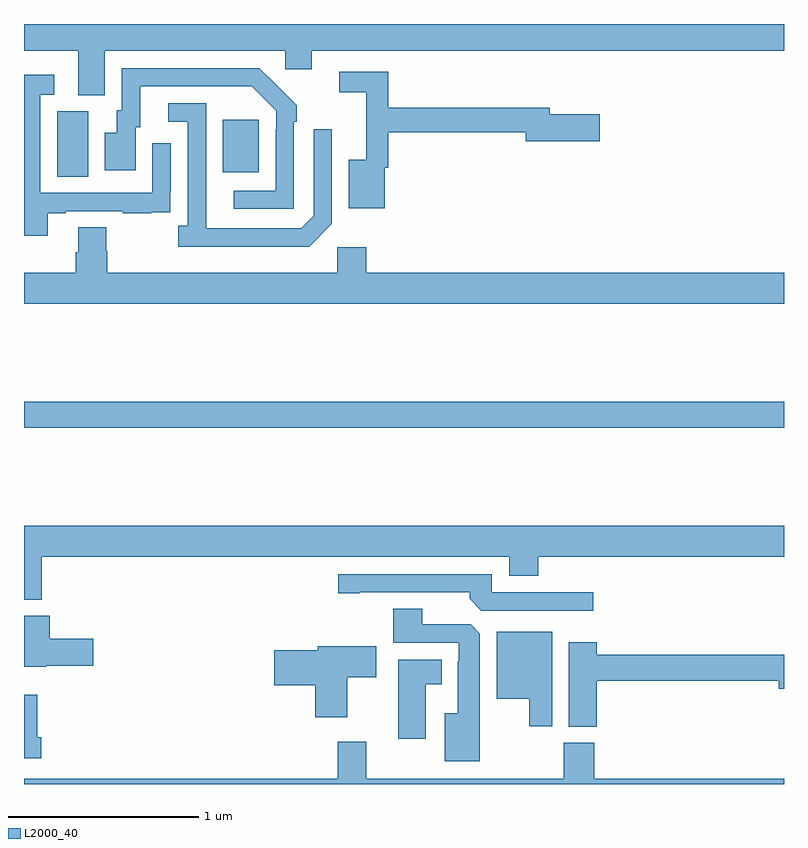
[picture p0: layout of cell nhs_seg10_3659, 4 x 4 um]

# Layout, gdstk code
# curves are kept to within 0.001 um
import gdstk
lib = gdstk.Library(unit=1e-6, precision=1e-09)
def R(c, l, rs):  # rectangles x0, y0, x1, y1
    for r in rs: c.add(gdstk.rectangle(r[:2], r[2:], *l))
def P(c, l, *ps):  # polygons
    for p in ps: c.add(gdstk.Polygon(p, *l))
L2000_40 = (2000, 40)

nhs_seg10_3659 = lib.new_cell('nhs_seg10_3659')
R(nhs_seg10_3659, L2000_40, [(311,1254.376,315,1254.512), (311.174,1255.696,311.338,1256.04), (312.047,1255.721,312.235,1255.996)])
P(nhs_seg10_3659, L2000_40, [(311.425,1256.36),(312.375,1256.36),(312.375,1256.262),(312.514,1256.262),(312.514,1256.36),(315,1256.36),(315,1256.5),(311,1256.5),(311,1256.36),(311.285,1256.36),(311.285,1256.125),(311.425,1256.125)],
  [(312.42,1255.985),(312.435,1255.985),(312.435,1256.073),(312.238,1256.268),(311.514,1256.268),(311.514,1256.046),(311.489,1256.046),(311.489,1255.927),(311.426,1255.927),(311.426,1255.731),(311.587,1255.731),(311.587,1255.956),(311.611,1255.956),(311.611,1256.172),(312.199,1256.172),(312.327,1256.043),(312.327,1255.943),(312.324,1255.943),(312.324,1255.623),(312.105,1255.623),(312.105,1255.527),(312.42,1255.527)],
  [(312.898,1255.743),(312.917,1255.743),(312.917,1255.93),(313.64,1255.93),(313.64,1255.883),(314.029,1255.883),(314.029,1256.025),(313.768,1256.025),(313.768,1256.059),(312.917,1256.059),(312.917,1256.25),(312.66,1256.25),(312.66,1256.142),(312.8,1256.142),(312.8,1255.786),(312.71,1255.786),(312.71,1255.529),(312.898,1255.529)],
  [(311.125,1255.503),(311.221,1255.503),(311.221,1255.515),(311.521,1255.515),(311.521,1255.503),(311.669,1255.503),(311.669,1255.509),(311.771,1255.509),(311.771,1255.618),(311.772,1255.618),(311.772,1255.873),(311.676,1255.873),(311.676,1255.611),(311.085,1255.611),(311.085,1256.127),(311.158,1256.127),(311.158,1256.233),(311,1256.233),(311,1255.386),(311.125,1255.386)],
  [(312.621,1255.449),(312.621,1255.945),(312.525,1255.945),(312.525,1255.491),(312.459,1255.425),(311.959,1255.425),(311.958,1256.082),(311.76,1256.082),(311.76,1255.986),(311.862,1255.986),(311.862,1255.438),(311.811,1255.438),(311.811,1255.328),(312.5,1255.328)],
  [(315,1255.192),(312.8,1255.192),(312.8,1255.324),(312.648,1255.324),(312.648,1255.192),(311.438,1255.192),(311.438,1255.305),(311.433,1255.305),(311.433,1255.43),(311.285,1255.43),(311.285,1255.298),(311.273,1255.298),(311.273,1255.192),(311,1255.192),(311,1255.028),(315,1255.028)],
  [(311.093,1253.696),(313.553,1253.696),(313.553,1253.597),(313.706,1253.597),(313.706,1253.696),(315,1253.696),(315,1253.86),(311,1253.86),(311,1253.471),(311.093,1253.471)],
  [(313.996,1253.508),(313.461,1253.508),(313.461,1253.604),(312.654,1253.604),(312.654,1253.503),(312.766,1253.503),(312.766,1253.508),(313.346,1253.508),(313.346,1253.474),(313.407,1253.412),(313.996,1253.412)],
  [(313.399,1253.291),(313.35,1253.34),(313.096,1253.34),(313.096,1253.423),(312.944,1253.423),(312.944,1253.244),(313.287,1253.244),(313.287,1253.147),(313.283,1253.147),(313.283,1252.873),(313.214,1252.873),(313.214,1252.619),(313.399,1252.619)],
  [(311.118,1253.123),(311.365,1253.123),(311.365,1253.265),(311.135,1253.265),(311.135,1253.386),(311,1253.386),(311,1253.117),(311.118,1253.117)],
  [(313.78,1253.302),(313.487,1253.302),(313.487,1252.949),(313.658,1252.949),(313.658,1252.803),(313.78,1252.803)],
  [(314.015,1253.044),(314.972,1253.044),(314.972,1253.002),(315,1253.002),(315,1253.18),(314.015,1253.18),(314.015,1253.245),(313.868,1253.245),(313.868,1252.801),(314.015,1252.801)],
  [(312.7,1253.062),(312.853,1253.062),(312.853,1253.224),(312.545,1253.224),(312.545,1253.204),(312.318,1253.204),(312.318,1253.021),(312.533,1253.021),(312.533,1252.851),(312.7,1252.851)],
  [(313.114,1253.024),(313.198,1253.024),(313.198,1253.155),(312.971,1253.155),(312.971,1252.737),(313.114,1252.737)],
  [(311.09,1252.747),(311.07,1252.747),(311.07,1252.969),(311,1252.969),(311,1252.635),(311.09,1252.635)],
  [(315,1252.528),(314,1252.528),(314,1252.716),(313.84,1252.716),(313.84,1252.528),(312.802,1252.528),(312.802,1252.723),(312.65,1252.723),(312.65,1252.528),(311,1252.528),(311,1252.5),(315,1252.5)])

lib.write_gds('nhs_seg10_3659.gds')
